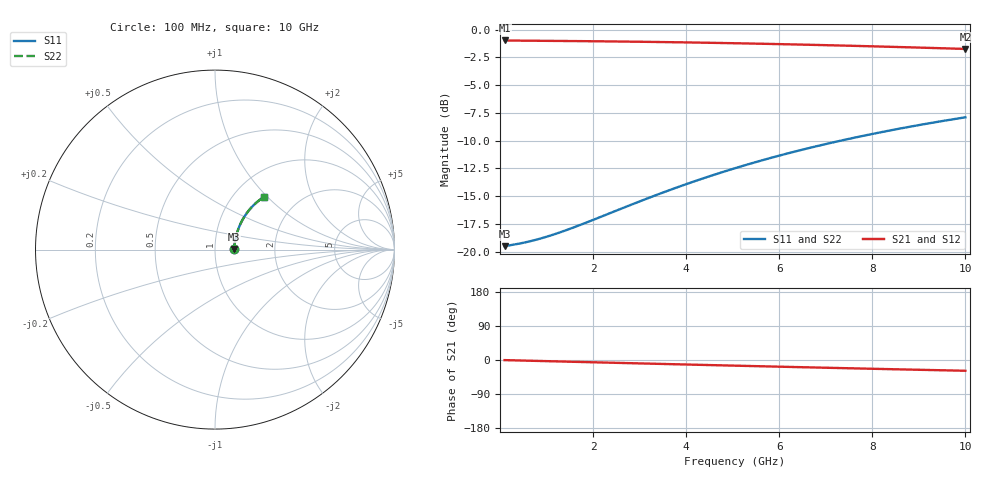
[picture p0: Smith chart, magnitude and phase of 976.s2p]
# Hz S RI R 50.00
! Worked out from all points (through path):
!   100 points, 100 MHz to 10 GHz, reference 50 ohm
!   highest |S21| = -0.97 dB at 100 MHz (marker M1); lowest = -1.7 dB at 10 GHz (marker M2)
!   group delay of S21, straight-line fit = 7.91 ps
!   lowest |S11| = -19.5 dB at 100 MHz (marker M3), VSWR 1.24, Z = 61.8 + j0.471 ohm
!   |S11| at or under -10 dB: start of sweep to 7.323 GHz
!   |S22| runs from -19.5 to -7.9 dB; largest |S21 - S12| = 0
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1e8  0.1057 0.00377  0.8943 -0.00471  0.8943 -0.00471  0.1057 0.00377
5e8  0.108 0.0187  0.892 -0.0234  0.892 -0.0234  0.108 0.0187
7e8  0.1089 0.0262  0.891 -0.0328  0.891 -0.0328  0.1089 0.0262
9e8  0.11 0.0336  0.89 -0.0421  0.89 -0.0421  0.11 0.0336
1.1e9  0.1111 0.041  0.8888 -0.0514  0.8888 -0.0514  0.1111 0.041
1.3e9  0.1124 0.0484  0.8875 -0.0606  0.8875 -0.0606  0.1124 0.0484
1.8e9  0.116 0.0666  0.8838 -0.0835  0.8838 -0.0835  0.116 0.0666
2.6e9  0.1235 0.0952  0.8761 -0.1197  0.8761 -0.1197  0.1235 0.0952
3.4e9  0.1332 0.1229  0.8663 -0.1549  0.8663 -0.1549  0.1332 0.1229
3.9e9  0.1402 0.1396  0.859 -0.1764  0.859 -0.1764  0.1402 0.1396
4.3e9  0.1464 0.1527  0.8527 -0.1932  0.8527 -0.1932  0.1464 0.1527
4.7e9  0.1531 0.1654  0.8458 -0.2097  0.8458 -0.2097  0.1531 0.1654
5.1e9  0.1602 0.1777  0.8385 -0.2258  0.8385 -0.2258  0.1602 0.1777
5.5e9  0.1678 0.1897  0.8308 -0.2416  0.8308 -0.2416  0.1678 0.1897
5.9e9  0.1757 0.2013  0.8226 -0.257  0.8226 -0.257  0.1757 0.2013
6.3e9  0.1841 0.2124  0.814 -0.2719  0.814 -0.2719  0.1841 0.2124
6.7e9  0.1928 0.2232  0.8051 -0.2865  0.8051 -0.2865  0.1928 0.2232
7.5e9  0.2112 0.2434  0.7861 -0.3143  0.7861 -0.3143  0.2112 0.2434
7.9e9  0.2208 0.2528  0.7762 -0.3275  0.7762 -0.3275  0.2208 0.2528
8.4e9  0.2332 0.2639  0.7635 -0.3434  0.7635 -0.3434  0.2332 0.2639
9.2e9  0.2537 0.2802  0.7423 -0.3673  0.7423 -0.3673  0.2537 0.2802
1e10  0.2748 0.2946  0.7204 -0.3894  0.7204 -0.3894  0.2748 0.2946
